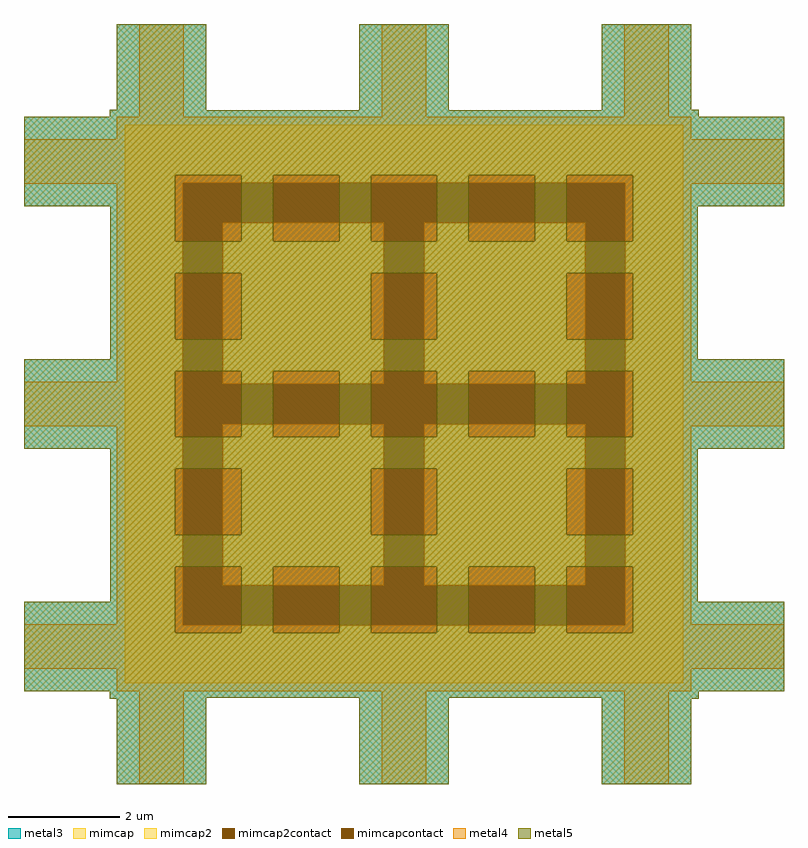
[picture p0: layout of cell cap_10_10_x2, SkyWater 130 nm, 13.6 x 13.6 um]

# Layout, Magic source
magic
tech sky130B
<< metal3 >>
rect -22 1024 138 1177
rect -35 1023 138 1024
rect 412 1023 572 1177
rect 846 1024 1006 1177
rect 846 1023 1019 1024
rect -35 1011 1019 1023
rect -188 851 1172 1011
rect -34 577 1018 851
rect -188 417 1172 577
rect -34 143 1018 417
rect -188 -17 1172 143
rect -35 -29 1019 -17
rect -35 -30 138 -29
rect -22 -183 138 -30
rect 412 -183 572 -29
rect 846 -30 1019 -29
rect 846 -183 1006 -30
<< mimcap >>
rect -8 893 992 997
rect -8 101 96 893
rect 168 533 456 821
rect 528 533 816 821
rect 168 173 456 461
rect 528 173 816 461
rect 888 101 992 893
rect -8 -3 992 101
<< mimcapcontact >>
rect 96 821 888 893
rect 96 533 168 821
rect 456 533 528 821
rect 816 533 888 821
rect 96 461 888 533
rect 96 173 168 461
rect 456 173 528 461
rect 816 173 888 461
rect 96 101 888 173
<< metal4 >>
rect 18 1011 98 1177
rect 452 1011 532 1177
rect 886 1011 966 1177
rect -22 971 1006 1011
rect -188 893 1172 971
rect -188 891 96 893
rect -22 537 96 891
rect 888 891 1172 893
rect -188 457 96 537
rect 168 533 456 821
rect 528 533 816 821
rect 888 537 1006 891
rect -22 103 96 457
rect 168 173 456 461
rect 528 173 816 461
rect 888 457 1172 537
rect -188 101 96 103
rect 888 103 1006 457
rect 888 101 1172 103
rect -188 23 1172 101
rect -22 -17 1006 23
rect 18 -183 98 -17
rect 452 -183 532 -17
rect 886 -183 966 -17
<< mimcap2 >>
rect -8 906 992 997
rect -8 788 83 906
rect 201 788 258 906
rect 376 788 433 906
rect 551 788 608 906
rect 726 788 783 906
rect 901 788 992 906
rect -8 731 992 788
rect -8 613 83 731
rect 201 613 433 731
rect 551 613 783 731
rect 901 613 992 731
rect -8 556 992 613
rect -8 438 83 556
rect 201 438 258 556
rect 376 438 433 556
rect 551 438 608 556
rect 726 438 783 556
rect 901 438 992 556
rect -8 381 992 438
rect -8 263 83 381
rect 201 263 433 381
rect 551 263 783 381
rect 901 263 992 381
rect -8 206 992 263
rect -8 88 83 206
rect 201 88 258 206
rect 376 88 433 206
rect 551 88 608 206
rect 726 88 783 206
rect 901 88 992 206
rect -8 -3 992 88
<< mimcap2contact >>
rect 83 788 201 906
rect 258 788 376 906
rect 433 788 551 906
rect 608 788 726 906
rect 783 788 901 906
rect 83 613 201 731
rect 433 613 551 731
rect 783 613 901 731
rect 83 438 201 556
rect 258 438 376 556
rect 433 438 551 556
rect 608 438 726 556
rect 783 438 901 556
rect 83 263 201 381
rect 433 263 551 381
rect 783 263 901 381
rect 83 88 201 206
rect 258 88 376 206
rect 433 88 551 206
rect 608 88 726 206
rect 783 88 901 206
<< metal5 >>
rect -22 1024 138 1177
rect -35 1023 138 1024
rect 412 1023 572 1177
rect 846 1024 1006 1177
rect 846 1023 1019 1024
rect -35 1011 1019 1023
rect -188 906 1172 1011
rect -188 851 83 906
rect -34 788 83 851
rect 201 788 258 906
rect 376 788 433 906
rect 551 788 608 906
rect 726 788 783 906
rect 901 851 1172 906
rect 901 788 1018 851
rect -34 731 1018 788
rect -34 613 83 731
rect 201 613 433 731
rect 551 613 783 731
rect 901 613 1018 731
rect -34 577 1018 613
rect -188 556 1172 577
rect -188 438 83 556
rect 201 438 258 556
rect 376 438 433 556
rect 551 438 608 556
rect 726 438 783 556
rect 901 438 1172 556
rect -188 417 1172 438
rect -34 381 1018 417
rect -34 263 83 381
rect 201 263 433 381
rect 551 263 783 381
rect 901 263 1018 381
rect -34 206 1018 263
rect -34 143 83 206
rect -188 88 83 143
rect 201 88 258 206
rect 376 88 433 206
rect 551 88 608 206
rect 726 88 783 206
rect 901 143 1018 206
rect 901 88 1172 143
rect -188 -17 1172 88
rect -35 -29 1019 -17
rect -35 -30 138 -29
rect -22 -183 138 -30
rect 412 -183 572 -29
rect 846 -30 1019 -29
rect 846 -183 1006 -30
<< end >>
